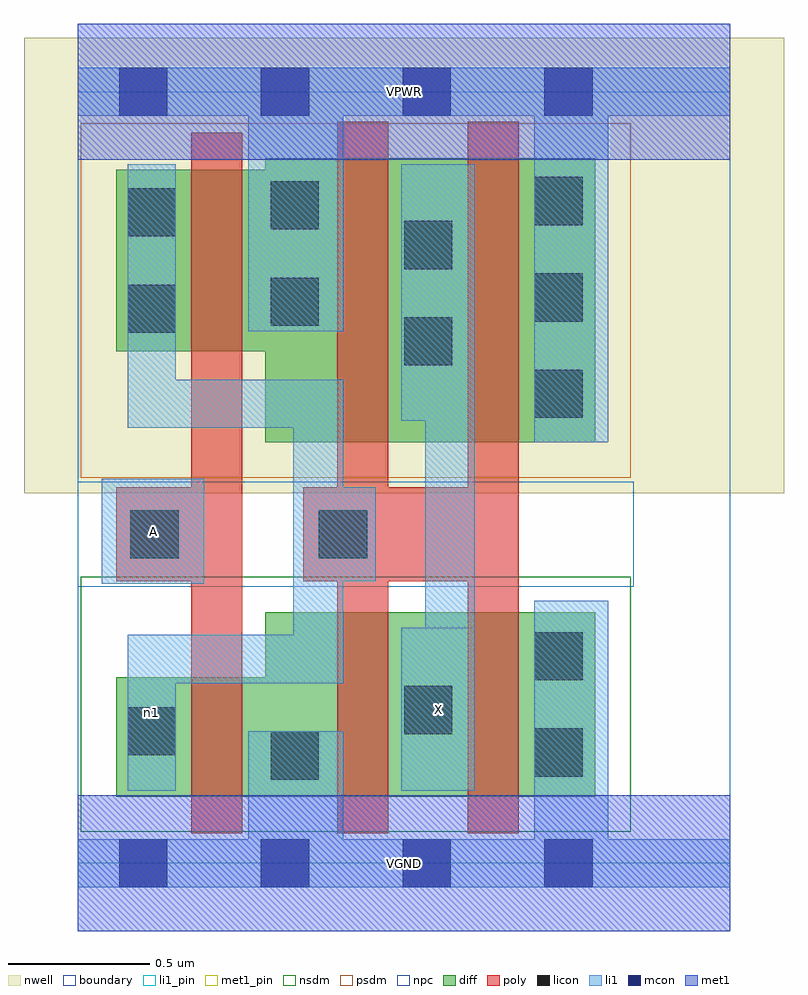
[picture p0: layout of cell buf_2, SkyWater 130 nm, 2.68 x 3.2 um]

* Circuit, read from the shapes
.subckt buf_2 A VGND VPWR X n1
XM1 VGND A n1 VSUBS sky130_fd_pr__nfet_01v8 w=0.42 l=0.18
XM2 X n1 VGND VSUBS sky130_fd_pr__nfet_01v8 w=0.65 l=0.18 m=2
XM3 VPWR A n1 n2 sky130_fd_pr__pfet_01v8 w=0.64 l=0.18
XM4 X n1 VPWR n2 sky130_fd_pr__pfet_01v8 w=1 l=0.18 m=2
.ends

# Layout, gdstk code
import gdstk
lib = gdstk.Library(unit=1e-6, precision=1e-09)
def R(c, l, rs):  # rectangles x0, y0, x1, y1
    for r in rs: c.add(gdstk.rectangle(r[:2], r[2:], *l))
def A(c, l, x, y, w, h, nx, ny, dx, dy):  # array of equal rectangles
    R(c, l, [(x+i*dx, y+j*dy, x+i*dx+w, y+j*dy+h) for i in range(nx) for j in range(ny)])
nwell = (64, 20)
diff = (65, 20)
poly = (66, 20)
licon = (66, 44)
li1_pin = (67, 16)
li1 = (67, 20)
mcon = (67, 44)
met1_pin = (68, 16)
met1 = (68, 20)
nsdm = (93, 44)
psdm = (94, 20)
npc = (95, 20)
boundary = (235, 4)

buf_2 = lib.new_cell('buf_2')
R(buf_2, nwell, [(-0.19,1.305,2.49,2.91), (0,1.305,2.3,2.91)])
R(buf_2, diff, [(0.135,0.235,1.825,0.655), (0.66,0.235,1.825,0.885), (0.66,1.485,1.825,2.485), (0.135,1.805,1.825,2.445)])
R(buf_2, poly, [(0.4,0.105,0.58,2.575), (0.915,0.105,1.095,2.615), (1.375,0.105,1.555,2.615), (0.135,0.995,0.58,1.325), (0.795,0.995,1.555,1.325)])
A(buf_2, licon, 1.61, 1.57, 0.17, 0.17, 1, 3, 0, 0.34)
R(buf_2, licon, [(0.68,0.295,0.85,0.465), (1.61,0.305,1.78,0.475), (0.175,0.38,0.345,0.55), (1.15,0.455,1.32,0.625), (1.61,0.645,1.78,0.815), (0.185,1.075,0.355,1.245), (0.85,1.075,1.02,1.245), (1.15,1.755,1.32,1.925), (0.175,1.87,0.345,2.04), (0.68,1.895,0.85,2.065), (1.15,2.095,1.32,2.265), (0.175,2.21,0.345,2.38), (0.68,2.235,0.85,2.405)])
R(buf_2, li1_pin, [(1.14,0.255,1.4,0.83), (0.085,0.985,0.445,1.355)])
R(buf_2, li1, [(0,-0.085,2.3,0.085), (0.6,-0.085,0.935,0.465), (1.61,-0.085,1.87,0.925), (0.175,0.255,0.345,0.805), (1.14,0.255,1.4,0.83), (1.225,0.255,1.4,2.465), (0.175,0.635,0.935,0.805), (0.76,0.635,0.935,1.705), (0.085,0.985,0.445,1.355), (0.76,0.995,1.05,1.325), (1.61,1.485,1.87,2.805), (0.175,1.535,0.935,1.705), (0.175,1.535,0.345,2.465), (1.14,1.56,1.4,2.465), (0.6,1.875,0.935,2.805), (0,2.635,2.3,2.805)])
A(buf_2, mcon, 0.145, -0.085, 0.17, 0.17, 4, 2, 0.5, 2.72)
R(buf_2, met1_pin, [(0,-0.24,2.3,0.24), (0,2.48,2.3,2.96)])
R(buf_2, met1, [(0,-0.24,2.3,0.24), (0,2.48,2.3,2.96)])
R(buf_2, nsdm, [(0.01,0.11,1.95,1.01)])
R(buf_2, psdm, [(0.01,1.36,1.95,2.61)])
R(buf_2, npc, [(0,0.975,1.96,1.345)])
R(buf_2, boundary, [(0,0,2.3,2.72)])
buf_2.add(gdstk.Label('A', (0.265,1.17), layer=67, texttype=5))
buf_2.add(gdstk.Label('X', (1.27,0.542), layer=67, texttype=5))
buf_2.add(gdstk.Label('n1', (0.26,0.53), layer=67, texttype=5))
buf_2.add(gdstk.Label('VPWR', (1.15,2.72), layer=68, texttype=5))
buf_2.add(gdstk.Label('VGND', (1.15,0), layer=68, texttype=5))
buf_2.add(gdstk.Label('A', (0.265,1.17), layer=67, texttype=16))
buf_2.add(gdstk.Label('X', (1.27,0.542), layer=67, texttype=16))
buf_2.add(gdstk.Label('VPWR', (1.15,2.72), layer=68, texttype=16))
buf_2.add(gdstk.Label('VGND', (1.15,0), layer=68, texttype=16))

lib.write_gds('buf_2.gds')
